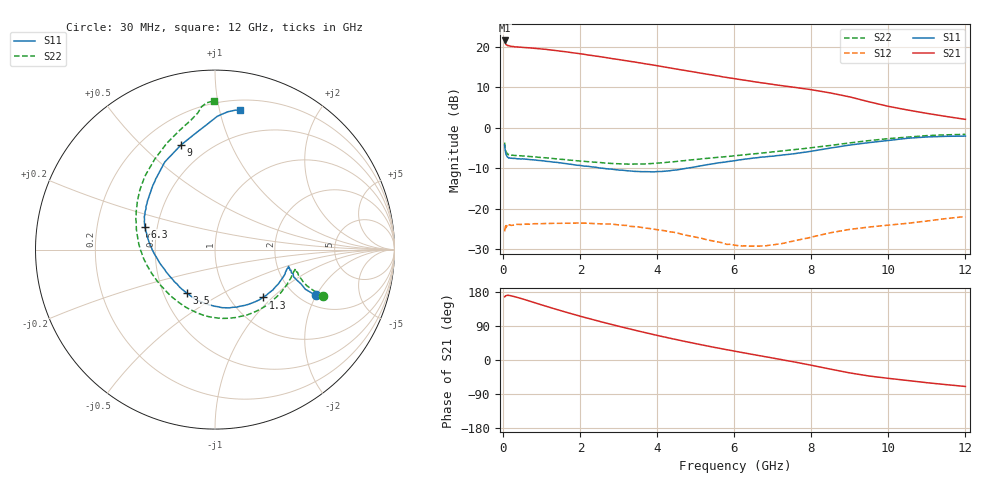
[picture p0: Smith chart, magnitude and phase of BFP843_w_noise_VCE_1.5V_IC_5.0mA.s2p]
! Infineon Technologies  Discrete & RF Semiconductors
! BFP843
! VCE =  1.5 V,  IC =  5.0 mA
! Common Emitter S-Parameters:  Aug 2013
# GHz  S  MA  R  50
!  f  S11  S21  S12  S22
! GHz  MAG  ANG  MAG  ANG  MAG  ANG  MAG  ANG
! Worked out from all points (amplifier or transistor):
!   103 points, 30 MHz to 12 GHz, reference 50 ohm
!   highest |S21| = 21.6 dB at 30 MHz (marker M1)
!   |S21| within 3 dB of that: start of sweep to 1.77 GHz
!   unconditionally stable (mu >= 1): 156.3 MHz to 1.007 GHz; 2.115 GHz to 10.99 GHz
!   at 400 MHz: K = 1.01, MAG = 21.2 dB, |S12| = -23.8 dB
!   at 3.7 GHz: K = 1.23, MAG = 17.4 dB, |S12| = -24.8 dB
!   at 12 GHz: K = 0.84, MSG = 12.0 dB, |S12| = -21.9 dB
!   lowest NFmin = 0.94 dB at 450 MHz
!   S11 on the Smith chart (normalised r, x): 30 MHz: 2.41, -1.98; 1.3 GHz: 1.41, -0.88; 3.5 GHz: 0.66, -0.35; 6.3 GHz: 0.43, +0.13; 9 GHz: 0.36, +0.66; 12 GHz: 0.28, +1.16
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0.03  0.616 -24.4  11.96 166.8  0.0526 33.7  0.6564 -23.2
0.04  0.5496 -23.7  11.37 167.3  0.0562 26.1  0.5897 -22.5
0.05  0.5154 -21.7  11.01 169.3  0.059 19.7  0.5484 -21.4
0.07  0.4625 -19.0  10.6 170.0  0.0585 15.3  0.505 -18.6
0.13  0.4291 -14.2  10.32 170.8  0.0643 9.5  0.4641 -14.4
0.3  0.4194 -14.0  9.962 166.9  0.064 3.3  0.4543 -15.9
0.7  0.4042 -25.5  9.672 154.7  0.0645 -0.8  0.4414 -29.6
1.1  0.3862 -38.3  9.291 142.1  0.0659 -3.4  0.4265 -45.1
1.3  0.3769 -45.0  9.046 135.9  0.0662 -5.0  0.4169 -52.8
1.7  0.3572 -58.7  8.562 124.0  0.0663 -8.0  0.3992 -68.4
2.1  0.3364 -72.9  8.063 112.6  0.0666 -11.7  0.3855 -83.9
2.7  0.3113 -93.9  7.3 96.6  0.065 -17.4  0.366 -106.0
3.5  0.2888 -122.9  6.372 76.6  0.0599 -24.5  0.3568 -134.9
4.1  0.2887 -144.9  5.718 62.5  0.0543 -28.5  0.3693 -154.2
5  0.3305 -173.2  4.843 43.1  0.0446 -29.7  0.4066 -176.0
6.1  0.3994 165.1  3.968 21.6  0.0351 -19.0  0.456 164.0
6.3  0.4118 161.8  3.84 17.9  0.0349 -16.3  0.4659 160.5
7.4  0.4692 142.0  3.233 -2.3  0.0389 0.4  0.5288 143.1
8.5  0.5627 119.8  2.687 -24.2  0.0507 3.8  0.6059 123.6
9  0.6124 108.1  2.402 -34.1  0.0558 2.2  0.6512 114.3
10.5  0.743 89.0  1.657 -54.1  0.0663 -3.8  0.7671 97.2
12  0.79 79.7  1.27 -69.9  0.0803 -10.6  0.8295 90.3
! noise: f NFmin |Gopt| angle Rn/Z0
0.45  0.94  0.18  8  0.01
0.9  0.95  0.19  17  0.03
1.5  0.98  0.18  28  0.1
1.9  1.01  0.16  40  0.18
2.4  1.06  0.14  49  0.26
3.5  1.14  0.11  64  0.3
5.5  1.29  0.13  -156  0.38
10  2.08  0.51  -74  0.44
